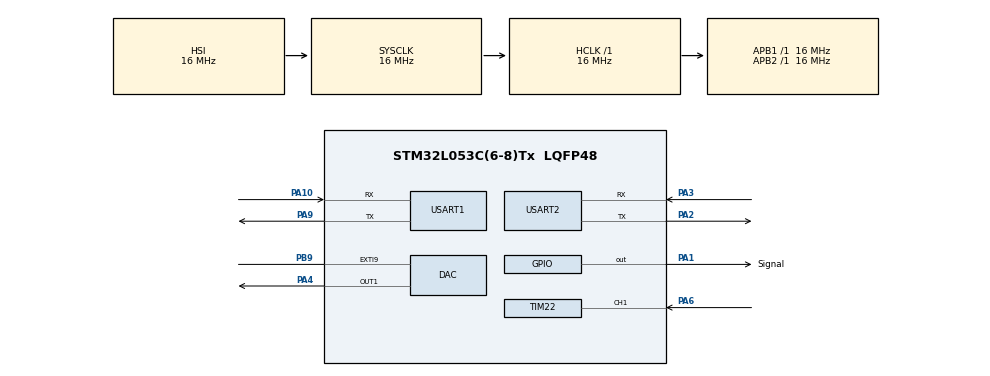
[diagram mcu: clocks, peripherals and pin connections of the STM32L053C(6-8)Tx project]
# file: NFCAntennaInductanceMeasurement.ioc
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Mcu.Family=STM32L0
Mcu.Name=STM32L053C(6-8)Tx
Mcu.Package=LQFP48
NVIC.TIM22_IRQn=true\:0\:0\:false\:false\:true\:true\:true\:true
PA1.GPIO_Label=Signal
PA1.GPIO_Speed=GPIO_SPEED_FREQ_VERY_HIGH
PA1.Signal=GPIO_Output
PA10.Mode=Asynchronous
PA10.Signal=USART1_RX
PA2.Mode=Asynchronous
PA2.Signal=USART2_TX
PA3.Mode=Asynchronous
PA3.Signal=USART2_RX
PA4.Signal=COMP_DAC1_group
PA6.Signal=S_TIM22_CH1
PA9.Mode=Asynchronous
PA9.Signal=USART1_TX
PB9.Signal=GPXTI9
ProjectManager.HeapSize=0x200
ProjectManager.StackSize=0x400
ProjectManager.TargetToolchain=STM32CubeIDE
RCC.AHBFreq_Value=16000000
RCC.APB1Freq_Value=16000000
RCC.APB1TimFreq_Value=16000000
RCC.APB2Freq_Value=16000000
RCC.APB2TimFreq_Value=16000000
RCC.HCLKFreq_Value=16000000
RCC.HSE_VALUE=16000000
RCC.HSI16_VALUE=16000000
RCC.HSI48_VALUE=48000000
RCC.HSI_VALUE=16000000
RCC.LSE_VALUE=32768
RCC.MSI_VALUE=2097000
RCC.SYSCLKFreq_VALUE=16000000
RCC.SYSCLKSource=RCC_SYSCLKSOURCE_HSI
RCC.VCOOutputFreq_Value=48000000
SH.COMP_DAC1_group.0=DAC_OUT1,DAC_OUT1
SH.S_TIM22_CH1.0=TIM22_CH1,Input_Capture1_from_TI1
TIM22.Channel-Input_Capture1_from_TI1=TIM_CHANNEL_1
TIM22.ICFilter_CH1=4
USART1.VirtualMode-Asynchronous=VM_ASYNC
USART2.VirtualMode-Asynchronous=VM_ASYNC
board=custom

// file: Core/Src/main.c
/* USER CODE BEGIN Header */
/**
 ******************************************************************************
 * @file           : main.c
 * @brief          : Main program body
 ******************************************************************************
 * @attention
 *
 * Copyright (c) 2026 STMicroelectronics.
 * All rights reserved.
 *
 * This software is licensed under terms that can be found in the LICENSE file
 * in the root directory of this software component.
 * If no LICENSE file comes with this software, it is provided AS-IS.
 *
 ******************************************************************************
 */
/* USER CODE END Header */
#include "main.h"

/* USER CODE BEGIN Includes */
#include <stdio.h>
#include <math.h>
/* USER CODE END Includes */

/* USER CODE BEGIN PD */
#define C_KNOWN         (22.056e-9)        /* 56 pF */
#define TIM2_CLK_HZ     16000000UL      /* 16 MHz HSE */
#define NUM_CAPTURES     32
/* USER CODE END PD */

DAC_HandleTypeDef hdac;

TIM_HandleTypeDef htim22;

UART_HandleTypeDef huart1;
UART_HandleTypeDef huart2;

/* USER CODE BEGIN PV */
static volatile uint32_t captures[NUM_CAPTURES];
static volatile uint8_t capture_count = 0;
static volatile uint8_t capture_done = 0;
/* USER CODE END PV */

void SystemClock_Config(void);
static void MX_GPIO_Init(void);
static void MX_USART1_UART_Init(void);
static void MX_USART2_UART_Init(void);
static void MX_TIM22_Init(void);
static void MX_DAC_Init(void);

/* USER CODE BEGIN 0 */
void HAL_TIM_IC_CaptureCallback(TIM_HandleTypeDef *htim) {
	/*if (htim->Instance == TIM22 && htim->Channel == HAL_TIM_ACTIVE_CHANNEL_1) {

	}*/
    if (htim->Instance == TIM22 && htim->Channel == HAL_TIM_ACTIVE_CHANNEL_1) {
		if (capture_count < NUM_CAPTURES) {
			captures[capture_count++] = HAL_TIM_ReadCapturedValue(htim,
					TIM_CHANNEL_1);

			if (capture_count >= NUM_CAPTURES) {
				HAL_TIM_IC_Stop_IT(&htim22, TIM_CHANNEL_1);
				capture_done = 1;
			}
		}
    }
}
/* USER CODE END 0 */

int main(void)
{

  /* MCU Configuration--------------------------------------------------------*/

  /* Reset of all peripherals, Initializes the Flash interface and the Systick. */
  HAL_Init();

  /* Configure the system clock */
  SystemClock_Config();

  /* Initialize all configured peripherals */
  MX_GPIO_Init();
  MX_USART1_UART_Init();
  MX_USART2_UART_Init();
  MX_TIM22_Init();
  MX_DAC_Init();
  /* USER CODE BEGIN 2 */
	HAL_TIM_IC_Start_IT(&htim22, TIM_CHANNEL_1);

	printf("\r\n");
	printf("=== NFC Inductance Meter ===\r\n");

	printf("C = %d pF | TIM2 = %lu Hz\r\n\r\n", (int) (C_KNOWN * 1e12),
	TIM2_CLK_HZ);
  /* USER CODE END 2 */

  /* Infinite loop */
  /* USER CODE BEGIN WHILE */
	while (1) {
		capture_count = 0;
		capture_done = 0;

		__HAL_TIM_SET_COUNTER(&htim22, 0);
		HAL_TIM_IC_Start_IT(&htim22, TIM_CHANNEL_1);

		HAL_GPIO_WritePin(Signal_GPIO_Port, Signal_Pin, GPIO_PIN_SET);
		for(volatile int i = 0; i < 500; i++);
		HAL_GPIO_WritePin(Signal_GPIO_Port, Signal_Pin, GPIO_PIN_RESET);

		uint32_t t0 = HAL_GetTick();
		while (!capture_done && (HAL_GetTick() - t0) < 100);

		if (!capture_done)
			HAL_TIM_IC_Stop_IT(&htim22, TIM_CHANNEL_1);

		if (capture_done && capture_count >= 2) {
			uint32_t total = 0;
			uint16_t valid = 0;

			for (uint8_t i = 1; i < capture_count; i++) {
				uint32_t diff = captures[i] - captures[i - 1];
				if (diff >= 2 && diff <= 8000) {
					total += diff;
					valid++;
				}
			}

			if (valid > 0) {
				double period = (double) total / valid / TIM2_CLK_HZ;
				double f_res = 1.0 / period;
				double L = 1.0 / (4.0 * M_PI * M_PI * f_res * f_res * C_KNOWN);

				printf("L = %.3f uH | f = %.3f MHz | %d amostras\r\n", L * 1e6,
						f_res / 1e6, valid);
			} else
				printf("ERRO: capturas fora da faixa\r\n");
		} else
			printf("TIMEOUT: %d/%d capturas\r\n", capture_count, NUM_CAPTURES);

		HAL_Delay(1000);

    /* USER CODE END WHILE */

	}
}

void SystemClock_Config(void)
{
  RCC_OscInitTypeDef RCC_OscInitStruct = {0};
  RCC_ClkInitTypeDef RCC_ClkInitStruct = {0};
  RCC_PeriphCLKInitTypeDef PeriphClkInit = {0};

  /** Configure the main internal regulator output voltage
  */
  __HAL_PWR_VOLTAGESCALING_CONFIG(PWR_REGULATOR_VOLTAGE_SCALE1);

  /** Initializes the RCC Oscillators according to the specified parameters
  * in the RCC_OscInitTypeDef structure.
  */
  RCC_OscInitStruct.OscillatorType = RCC_OSCILLATORTYPE_HSI;
  RCC_OscInitStruct.HSIState = RCC_HSI_ON;
  RCC_OscInitStruct.HSICalibrationValue = RCC_HSICALIBRATION_DEFAULT;
  RCC_OscInitStruct.PLL.PLLState = RCC_PLL_NONE;
  if (HAL_RCC_OscConfig(&RCC_OscInitStruct) != HAL_OK)
  {
    Error_Handler();
  }

  /** Initializes the CPU, AHB and APB buses clocks
  */
  RCC_ClkInitStruct.ClockType = RCC_CLOCKTYPE_HCLK|RCC_CLOCKTYPE_SYSCLK
                              |RCC_CLOCKTYPE_PCLK1|RCC_CLOCKTYPE_PCLK2;
  RCC_ClkInitStruct.SYSCLKSource = RCC_SYSCLKSOURCE_HSI;
  RCC_ClkInitStruct.AHBCLKDivider = RCC_SYSCLK_DIV1;
  RCC_ClkInitStruct.APB1CLKDivider = RCC_HCLK_DIV1;
  RCC_ClkInitStruct.APB2CLKDivider = RCC_HCLK_DIV1;

  if (HAL_RCC_ClockConfig(&RCC_ClkInitStruct, FLASH_LATENCY_0) != HAL_OK)
  {
    Error_Handler();
  }
  PeriphClkInit.PeriphClockSelection = RCC_PERIPHCLK_USART1|RCC_PERIPHCLK_USART2;
  PeriphClkInit.Usart1ClockSelection = RCC_USART1CLKSOURCE_PCLK2;
  PeriphClkInit.Usart2ClockSelection = RCC_USART2CLKSOURCE_PCLK1;
  if (HAL_RCCEx_PeriphCLKConfig(&PeriphClkInit) != HAL_OK)
  {
    Error_Handler();
  }
}

static void MX_DAC_Init(void)
{

  DAC_ChannelConfTypeDef sConfig = {0};

  /** DAC Initialization
  */
  hdac.Instance = DAC;
  if (HAL_DAC_Init(&hdac) != HAL_OK)
  {
    Error_Handler();
  }

  /** DAC channel OUT1 config
  */
  sConfig.DAC_Trigger = DAC_TRIGGER_NONE;
  sConfig.DAC_OutputBuffer = DAC_OUTPUTBUFFER_ENABLE;
  if (HAL_DAC_ConfigChannel(&hdac, &sConfig, DAC_CHANNEL_1) != HAL_OK)
  {
    Error_Handler();
  }

}

static void MX_TIM22_Init(void)
{

  TIM_MasterConfigTypeDef sMasterConfig = {0};
  TIM_IC_InitTypeDef sConfigIC = {0};

  htim22.Instance = TIM22;
  htim22.Init.Prescaler = 0;
  htim22.Init.CounterMode = TIM_COUNTERMODE_UP;
  htim22.Init.Period = 65535;
  htim22.Init.ClockDivision = TIM_CLOCKDIVISION_DIV1;
  htim22.Init.AutoReloadPreload = TIM_AUTORELOAD_PRELOAD_DISABLE;
  if (HAL_TIM_IC_Init(&htim22) != HAL_OK)
  {
    Error_Handler();
  }
  sMasterConfig.MasterOutputTrigger = TIM_TRGO_RESET;
  sMasterConfig.MasterSlaveMode = TIM_MASTERSLAVEMODE_DISABLE;
  if (HAL_TIMEx_MasterConfigSynchronization(&htim22, &sMasterConfig) != HAL_OK)
  {
    Error_Handler();
  }
  sConfigIC.ICPolarity = TIM_INPUTCHANNELPOLARITY_RISING;
  sConfigIC.ICSelection = TIM_ICSELECTION_DIRECTTI;
  sConfigIC.ICPrescaler = TIM_ICPSC_DIV1;
  sConfigIC.ICFilter = 4;
  if (HAL_TIM_IC_ConfigChannel(&htim22, &sConfigIC, TIM_CHANNEL_1) != HAL_OK)
  {
    Error_Handler();
  }

}

static void MX_USART1_UART_Init(void)
{

  huart1.Instance = USART1;
  huart1.Init.BaudRate = 115200;
  huart1.Init.WordLength = UART_WORDLENGTH_8B;
  huart1.Init.StopBits = UART_STOPBITS_1;
  huart1.Init.Parity = UART_PARITY_NONE;
  huart1.Init.Mode = UART_MODE_TX_RX;
  huart1.Init.HwFlowCtl = UART_HWCONTROL_NONE;
  huart1.Init.OverSampling = UART_OVERSAMPLING_16;
  huart1.Init.OneBitSampling = UART_ONE_BIT_SAMPLE_DISABLE;
  huart1.AdvancedInit.AdvFeatureInit = UART_ADVFEATURE_NO_INIT;
  if (HAL_UART_Init(&huart1) != HAL_OK)
  {
    Error_Handler();
  }

}

static void MX_USART2_UART_Init(void)
{

  huart2.Instance = USART2;
  huart2.Init.BaudRate = 115200;
  huart2.Init.WordLength = UART_WORDLENGTH_8B;
  huart2.Init.StopBits = UART_STOPBITS_1;
  huart2.Init.Parity = UART_PARITY_NONE;
  huart2.Init.Mode = UART_MODE_TX_RX;
  huart2.Init.HwFlowCtl = UART_HWCONTROL_NONE;
  huart2.Init.OverSampling = UART_OVERSAMPLING_16;
  huart2.Init.OneBitSampling = UART_ONE_BIT_SAMPLE_DISABLE;
  huart2.AdvancedInit.AdvFeatureInit = UART_ADVFEATURE_NO_INIT;
  if (HAL_UART_Init(&huart2) != HAL_OK)
  {
    Error_Handler();
  }

}

static void MX_GPIO_Init(void)
{
  GPIO_InitTypeDef GPIO_InitStruct = {0};

  /* GPIO Ports Clock Enable */
  __HAL_RCC_GPIOA_CLK_ENABLE();
  __HAL_RCC_GPIOB_CLK_ENABLE();

  /*Configure GPIO pin Output Level */
  HAL_GPIO_WritePin(Signal_GPIO_Port, Signal_Pin, GPIO_PIN_RESET);

  /*Configure GPIO pin : Signal_Pin */
  GPIO_InitStruct.Pin = Signal_Pin;
  GPIO_InitStruct.Mode = GPIO_MODE_OUTPUT_PP;
  GPIO_InitStruct.Pull = GPIO_NOPULL;
  GPIO_InitStruct.Speed = GPIO_SPEED_FREQ_VERY_HIGH;
  HAL_GPIO_Init(Signal_GPIO_Port, &GPIO_InitStruct);

  /*Configure GPIO pin : PB9 */
  GPIO_InitStruct.Pin = GPIO_PIN_9;
  GPIO_InitStruct.Mode = GPIO_MODE_IT_RISING;
  GPIO_InitStruct.Pull = GPIO_NOPULL;
  HAL_GPIO_Init(GPIOB, &GPIO_InitStruct);

}

/* USER CODE BEGIN 4 */
int _write(int file, char *ptr, int len) {
	HAL_UART_Transmit(&huart1, (uint8_t*) ptr, len, 1000);
	return len;
}
/* USER CODE END 4 */

void Error_Handler(void)
{
	__disable_irq();
	while (1) {
	}
}
